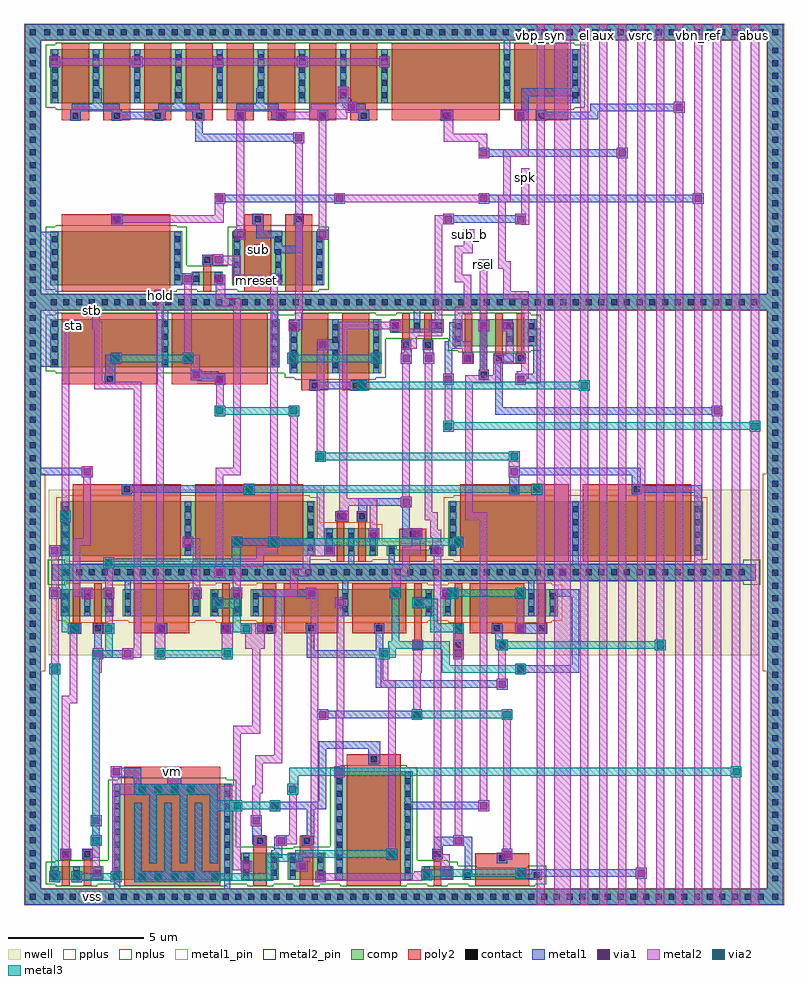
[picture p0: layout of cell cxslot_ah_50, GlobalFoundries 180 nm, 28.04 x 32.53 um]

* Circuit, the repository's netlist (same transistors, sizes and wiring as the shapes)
* LVS reference for slot_ah_50: flattened from cells/neuron/slot.spice by layout/slot/flatten.py
* Cfb (MOM capacitor, value from PEX) omitted: XD.CFB
.subckt cxslot_ah_50 vm spk rsel sub sub_b el vsrc vreset vbn_leak vbp_st vbn_ref vbn_prb en abus vdd vss aux vbp_syn sta stb hold mreset
XXC_XC vss vm vss vss nfet_03v3 W=3.54u L=3.54u
XXL_XMT XL.t vbn_leak vss vss nfet_03v3 W=2u L=4u
XXL_XM1 la el XL.s1 vss nfet_03v3 W=4u L=1u
XXL_XD1 XL.s1 XL.s1 XL.t vss nfet_03v3 W=8u L=1u
XXL_XM2 vl vl XL.s2 vss nfet_03v3 W=4u L=1u
XXL_XD2 XL.s2 XL.s2 XL.t vss nfet_03v3 W=8u L=1u
XXL_XP1 la la vdd vdd pfet_03v3 W=2u L=4u
XXL_XP2 vl la vdd vdd pfet_03v3 W=2u L=4u
XXD_XPS XD.s vbp_st vdd vdd pfet_03v3 W=1u L=2u
XXD_XPI XD.n1 vm XD.s vdd pfet_03v3 W=1u L=0.5u
XXD_XNI XD.n1 vm vsrc vss nfet_03v3 W=1u L=0.5u
XXD_XS2 XD.s2 vbp_st vdd vdd pfet_03v3 W=1u L=2u
XXD_XP2 XD.p XD.n1 XD.s2 vdd pfet_03v3 W=1u L=0.28u
XXD_XN2 XD.p XD.n1 vsrc vss nfet_03v3 W=0.22u L=2u
XXD_XS3 XD.s3 vbp_st vdd vdd pfet_03v3 W=1u L=2u
XXD_XP3 XD.pb XD.p XD.s3 vdd pfet_03v3 W=1u L=0.28u
XXD_XN3 XD.pb XD.p vsrc vss nfet_03v3 W=0.5u L=0.28u
XXD_XK XD.pb spk vdd vdd pfet_03v3 W=0.22u L=1u
XXD_Xi4_XN spk XD.pb vss vss nfet_03v3 W=0.5u L=0.28u
XXD_Xi4_XP spk XD.pb vdd vdd pfet_03v3 W=1u L=0.28u
XXR_Xi_XN XR.spkb spk vss vss nfet_03v3 W=0.5u L=0.28u
XXR_Xi_XP XR.spkb spk vdd vdd pfet_03v3 W=1u L=0.28u
XXR_XPC vr XR.spkb vdd vdd pfet_03v3 W=1u L=0.28u
XXR_XNR vr vbn_ref vss vss nfet_03v3 W=2u L=4u
XXR_XCR_XC vss vr vss vss nfet_03v3 W=3.54u L=3.54u
XXR_XSW vm vr vreset vss nfet_03v3 W=1u L=0.5u
XXPM_XMF vdd vm XPM.prb vss nfet_03v3 W=4u L=2u
XXPM_XME XPM.prb en XPM.s vss nfet_03v3 W=1u L=0.28u
XXPM_XMB XPM.s vbn_prb vss vss nfet_03v3 W=2u L=2u
XXPM_XSC XPM.prb en XPM.mc vss nfet_03v3 W=1u L=0.28u
XXPM_XSW XPM.mc rsel XPM.m vss nfet_03v3 W=1u L=0.28u
XXPM_XSB XPM.m sub_b abus vss nfet_03v3 W=1u L=0.28u
XXS_XPH XS.h hold vdd vdd pfet_03v3 W=1u L=2u
XXS_XWA XS.da vbp_syn XS.h vdd pfet_03v3 W=2u L=4u
XXS_XWB XS.db vbp_syn XS.h vdd pfet_03v3 W=2u L=4u
XXS_XNA XS.da sta vm vss nfet_03v3 W=0.5u L=0.28u
XXS_XNB XS.db stb vm vss nfet_03v3 W=0.5u L=0.28u
XXS_XQA vss sta XS.da vdd pfet_03v3 W=1u L=0.28u
XXS_XQB vss stb XS.db vdd pfet_03v3 W=1u L=0.28u
XXS_XHL vm hold vl vdd pfet_03v3 W=1u L=0.28u
XXS_XMR vdd mreset vr vss nfet_03v3 W=0.5u L=0.28u
.ends cxslot_ah_50

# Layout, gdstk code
import gdstk
lib = gdstk.Library(unit=1e-6, precision=1e-09)
def R(c, l, rs):  # rectangles x0, y0, x1, y1
    for r in rs: c.add(gdstk.rectangle(r[:2], r[2:], *l))
def A(c, l, x, y, w, h, nx, ny, dx, dy):  # array of equal rectangles
    R(c, l, [(x+i*dx, y+j*dy, x+i*dx+w, y+j*dy+h) for i in range(nx) for j in range(ny)])
nwell = (21, 0)
comp = (22, 0)
poly2 = (30, 0)
pplus = (31, 0)
nplus = (32, 0)
contact = (33, 0)
metal1 = (34, 0)
metal1_pin = (34, 10)
via1 = (35, 0)
metal2 = (36, 0)
metal2_pin = (36, 10)
via2 = (38, 0)
metal3 = (42, 0)

cxslot_ah_50 = lib.new_cell('cxslot_ah_50')
R(cxslot_ah_50, nwell, [(0.9,9.215,27.1,15.315)])
R(cxslot_ah_50, comp, [(0,0,28,0.6), (0,0.6,0.6,21.93), (27.4,0.6,28,21.93), (0.94,0.92,2.9,1.42), (3.24,0.92,7.66,4.46), (8,0.92,9.38,1.92), (9.72,0.92,11.1,1.92), (11.44,0.92,14.32,4.92), (14.66,0.92,15.82,1.42), (16.16,0.92,19.08,1.14), (16.16,1.14,16.52,1.28), (18.72,1.14,19.08,1.28), (1.33,10.645,3.29,11.645), (3.63,10.645,6.51,11.645), (6.85,10.645,8.01,11.645), (8.35,10.645,15.09,11.645), (15.43,10.645,19.67,11.645), (1.02,11.965,26.98,12.565), (1.33,12.885,10.73,14.885), (11.07,12.885,13.03,13.885), (13.37,12.885,15.29,13.105), (15.63,12.885,25.03,14.885), (13.37,13.105,13.73,13.245), (14.93,13.105,15.29,13.245), (9.76,19.61,13.16,21.61), (0.94,19.84,9.42,21.61), (15.8,20.61,18.88,21.61), (13.5,21.11,15.46,21.61), (0,21.93,28,22.53), (0,22.53,0.6,31.89), (27.4,22.53,28,31.89), (0.94,22.85,5.82,24.85), (6.16,22.85,7.32,23.35), (7.66,22.85,11.06,24.85), (0.94,29.57,20.5,31.57), (0,31.89,28,32.49)])
A(cxslot_ah_50, poly2, 1.38, 28.94, 1, 2.85, 8, 1, 1.52, 0)
R(cxslot_ah_50, poly2, [(1.38,0.7,1.66,1.69), (2.18,0.7,2.46,1.69), (3.68,0.7,7.22,5.09), (8.44,0.7,8.94,2.55), (10.16,0.7,10.66,2.55), (11.88,0.7,13.88,5.55), (15.1,0.7,15.38,1.69), (16.62,0.7,18.62,1.91), (1.34,1.69,1.7,2.05), (2.14,1.69,2.5,2.05), (15.06,1.69,15.42,2.05), (14.33,9.405,14.69,9.765), (15.83,9.405,16.19,9.765), (14.37,9.765,14.65,11.865), (15.87,9.765,16.15,11.865), (1.73,10.015,2.09,10.375), (2.53,10.015,2.89,10.375), (4.07,10.015,6.07,11.865), (7.25,10.015,7.61,10.375), (8.79,10.015,9.29,11.865), (9.57,10.015,11.57,11.865), (12.09,10.015,14.09,11.865), (16.43,10.015,18.43,11.865), (18.91,10.015,19.27,10.375), (1.77,10.375,2.05,11.865), (2.57,10.375,2.85,11.865), (7.29,10.375,7.57,11.865), (18.95,10.375,19.23,11.865), (1.77,12.665,5.77,15.515), (6.29,12.665,10.29,15.515), (11.51,12.665,11.79,14.155), (12.31,12.665,12.59,14.155), (13.83,12.665,14.83,13.875), (16.07,12.665,20.07,15.515), (20.59,12.665,24.59,15.515), (11.47,14.155,11.83,14.515), (12.27,14.155,12.63,14.515), (10.2,18.98,11.2,21.83), (11.72,18.98,12.72,21.83), (1.38,19.21,4.92,21.83), (5.44,19.21,8.98,21.83), (16.76,19.37,17.12,19.73), (16.8,19.73,17.08,21.83), (16.2,19.98,16.56,20.34), (17.32,19.98,17.68,20.34), (18.12,19.98,18.48,20.34), (16.24,20.34,16.52,21.83), (17.36,20.34,17.64,21.83), (18.16,20.34,18.44,21.83), (13.9,20.48,14.26,20.84), (14.7,20.48,15.06,20.84), (13.94,20.84,14.22,21.83), (14.74,20.84,15.02,21.83), (1.38,22.63,5.38,25.48), (6.6,22.63,6.88,23.62), (8.1,22.63,9.1,25.48), (9.62,22.63,10.62,25.48), (6.56,23.62,6.92,23.98), (13.54,28.94,17.54,31.79), (18.06,28.94,20.06,31.79)])
R(cxslot_ah_50, pplus, [(-0.02,-0.02,28.02,0.62), (-0.02,0.62,0.62,8.625), (27.38,0.62,28.02,8.625), (-0.02,8.625,0.76,15.905), (27.24,8.625,28.02,15.905), (1.54,10.415,3.08,10.485), (3.84,10.415,6.3,10.485), (7.06,10.415,7.8,10.485), (8.56,10.415,14.88,10.485), (15.64,10.415,19.46,10.485), (1.17,10.485,19.83,11.805), (1.54,11.805,3.08,11.875), (3.84,11.805,6.3,11.875), (7.06,11.805,7.8,11.875), (8.56,11.805,14.88,11.875), (15.64,11.805,19.46,11.875), (1.54,12.655,10.52,12.725), (11.28,12.655,12.82,12.725), (13.6,12.655,15.06,12.725), (15.84,12.655,24.82,12.725), (1.17,12.725,25.19,13.335), (1.17,13.335,13.89,13.405), (14.77,13.335,25.19,13.405), (1.17,13.405,13.19,14.045), (15.47,13.405,25.19,15.045), (1.17,14.045,12.82,14.115), (1.17,14.115,10.89,15.045), (1.54,15.045,10.52,15.115), (15.84,15.045,24.82,15.115), (-0.02,15.905,0.62,21.91), (27.38,15.905,28.02,21.91), (-0.02,21.91,28.02,22.55), (-0.02,22.55,0.62,31.87), (27.38,22.55,28.02,31.87), (-0.02,31.87,28.02,32.51)])
R(cxslot_ah_50, nplus, [(1.15,0.69,2.69,0.76), (3.45,0.69,7.45,0.76), (8.21,0.69,9.17,0.76), (9.93,0.69,10.89,0.76), (11.65,0.69,14.11,0.76), (14.87,0.69,15.61,0.76), (16.39,0.69,18.85,0.76), (0.78,0.76,19.24,1.37), (0.78,1.37,16.68,1.44), (18.56,1.37,19.24,1.44), (0.78,1.44,15.98,1.58), (1.15,1.58,15.61,1.65), (3.08,1.65,14.48,2.08), (3.08,2.08,9.17,2.15), (9.93,2.08,14.48,2.15), (3.08,2.15,7.82,4.62), (11.28,2.15,14.48,5.08), (3.45,4.62,7.45,4.69), (11.65,5.08,14.11,5.15), (0.86,11.805,1.49,11.945), (26.51,11.805,27.14,11.945), (0.86,11.945,27.14,12.585), (0.86,12.585,1.49,12.725), (26.51,12.585,27.14,12.725), (9.97,19.38,12.95,19.45), (9.6,19.45,13.32,19.61), (1.15,19.61,13.32,19.68), (0.78,19.68,13.32,20.88), (16.01,20.38,18.67,20.45), (15.64,20.45,19.04,20.88), (0.78,20.88,19.04,21.77), (1.15,21.77,9.21,21.84), (9.97,21.77,12.95,21.84), (13.71,21.77,15.25,21.84), (16.01,21.77,18.67,21.84), (1.15,22.62,5.61,22.69), (6.37,22.62,7.11,22.69), (7.87,22.62,10.85,22.69), (0.78,22.69,11.22,23.58), (0.78,23.58,5.98,25.01), (7.5,23.58,11.22,25.01), (1.15,25.01,5.61,25.08), (7.87,25.01,10.85,25.08), (1.15,29.34,20.29,29.41), (0.78,29.41,20.66,31.73), (1.15,31.73,20.29,31.8)])
A(cxslot_ah_50, contact, 0.73, 0.19, 0.22, 0.22, 57, 2, 0.47, 31.89)
A(cxslot_ah_50, contact, 0.19, 0.86, 0.22, 0.22, 1, 66, 0, 0.47)
A(cxslot_ah_50, contact, 27.59, 0.86, 0.22, 0.22, 1, 66, 0, 0.47)
A(cxslot_ah_50, contact, 1.01, 1.06, 0.22, 0.22, 3, 1, 0.8, 0)
A(cxslot_ah_50, contact, 11.51, 1.165, 0.22, 0.22, 1, 8, 0, 0.47)
A(cxslot_ah_50, contact, 14.03, 1.165, 0.22, 0.22, 1, 8, 0, 0.47)
A(cxslot_ah_50, contact, 3.31, 1.17, 0.22, 0.22, 1, 7, 0, 0.47)
A(cxslot_ah_50, contact, 7.37, 1.17, 0.22, 0.22, 1, 7, 0, 0.47)
A(cxslot_ah_50, contact, 2.6, 10.085, 0.22, 0.22, 3, 1, 2.36, 0)
A(cxslot_ah_50, contact, 1.4, 10.8, 0.22, 0.22, 3, 2, 0.8, 0.47)
A(cxslot_ah_50, contact, 1.435, 12.155, 0.22, 0.22, 54, 1, 0.47, 0)
A(cxslot_ah_50, contact, 11.14, 13.04, 0.22, 0.22, 3, 2, 0.8, 0.47)
A(cxslot_ah_50, contact, 1.4, 13.07, 0.22, 0.22, 3, 4, 4.52, 0.47)
A(cxslot_ah_50, contact, 15.7, 13.07, 0.22, 0.22, 3, 4, 4.52, 0.47)
A(cxslot_ah_50, contact, 9.83, 19.795, 0.22, 0.22, 3, 4, 1.52, 0.47)
A(cxslot_ah_50, contact, 1.01, 19.91, 0.22, 0.22, 3, 4, 4.06, 0.47)
A(cxslot_ah_50, contact, 13.57, 21.25, 0.22, 0.22, 3, 1, 0.8, 0)
A(cxslot_ah_50, contact, 0.965, 22.12, 0.22, 0.22, 56, 1, 0.47, 0)
A(cxslot_ah_50, contact, 1.01, 23.035, 0.22, 0.22, 1, 4, 0, 0.47)
A(cxslot_ah_50, contact, 5.53, 23.035, 0.22, 0.22, 1, 4, 0, 0.47)
A(cxslot_ah_50, contact, 7.73, 23.035, 0.22, 0.22, 3, 4, 1.52, 0.47)
A(cxslot_ah_50, contact, 1.77, 29.01, 0.22, 0.22, 8, 1, 1.52, 0)
A(cxslot_ah_50, contact, 1.01, 29.755, 0.22, 0.22, 9, 4, 1.52, 0.47)
A(cxslot_ah_50, contact, 17.69, 29.755, 0.22, 0.22, 1, 4, 0, 0.47)
A(cxslot_ah_50, contact, 20.21, 29.755, 0.22, 0.22, 1, 4, 0, 0.47)
R(cxslot_ah_50, contact, [(0.19,0.19,0.41,0.41), (27.59,0.19,27.81,0.41), (16.23,0.99,16.45,1.21), (18.79,0.99,19.01,1.21), (14.73,1.06,14.95,1.28), (15.53,1.06,15.75,1.28), (8.07,1.075,8.29,1.295), (9.09,1.075,9.31,1.295), (9.79,1.075,10.01,1.295), (10.81,1.075,11.03,1.295), (8.07,1.545,8.29,1.765), (9.09,1.545,9.31,1.765), (9.79,1.545,10.01,1.765), (10.81,1.545,11.03,1.765), (17.51,1.62,17.73,1.84), (1.41,1.76,1.63,1.98), (2.21,1.76,2.43,1.98), (15.13,1.76,15.35,1.98), (8.58,2.26,8.8,2.48), (10.3,2.26,10.52,2.48), (5.34,4.8,5.56,5.02), (12.77,5.26,12.99,5.48), (14.4,9.475,14.62,9.695), (15.9,9.475,16.12,9.695), (1.8,10.085,2.02,10.305), (8.93,10.085,9.15,10.305), (10.46,10.085,10.68,10.305), (12.98,10.085,13.2,10.305), (17.32,10.085,17.54,10.305), (18.98,10.085,19.2,10.305), (3.7,10.8,3.92,11.02), (6.22,10.8,6.44,11.02), (6.92,10.8,7.14,11.02), (7.72,10.8,7.94,11.02), (8.42,10.8,8.64,11.02), (11.72,10.8,11.94,11.02), (14.8,10.8,15.02,11.02), (15.5,10.8,15.72,11.02), (18.58,10.8,18.8,11.02), (19.38,10.8,19.6,11.02), (3.7,11.27,3.92,11.49), (6.22,11.27,6.44,11.49), (6.92,11.27,7.14,11.49), (7.72,11.27,7.94,11.49), (8.42,11.27,8.64,11.49), (11.72,11.27,11.94,11.49), (14.8,11.27,15.02,11.49), (15.5,11.27,15.72,11.49), (18.58,11.27,18.8,11.49), (19.38,11.27,19.6,11.49), (13.44,12.955,13.66,13.175), (15,12.955,15.22,13.175), (14.22,13.585,14.44,13.805), (11.54,14.225,11.76,14.445), (12.34,14.225,12.56,14.445), (3.66,15.225,3.88,15.445), (8.18,15.225,8.4,15.445), (17.96,15.225,18.18,15.445), (22.48,15.225,22.7,15.445), (10.59,19.05,10.81,19.27), (12.11,19.05,12.33,19.27), (3.04,19.28,3.26,19.5), (7.1,19.28,7.32,19.5), (16.83,19.44,17.05,19.66), (16.27,20.05,16.49,20.27), (17.39,20.05,17.61,20.27), (18.19,20.05,18.41,20.27), (13.97,20.55,14.19,20.77), (14.77,20.55,14.99,20.77), (15.87,20.765,16.09,20.985), (17.79,20.765,18.01,20.985), (18.59,20.765,18.81,20.985), (15.87,21.235,16.09,21.455), (17.79,21.235,18.01,21.455), (18.59,21.235,18.81,21.455), (6.23,22.99,6.45,23.21), (7.03,22.99,7.25,23.21), (6.63,23.69,6.85,23.91), (3.27,25.19,3.49,25.41), (8.49,25.19,8.71,25.41), (10.01,25.19,10.23,25.41), (15.43,29.01,15.65,29.23), (18.95,29.01,19.17,29.23), (0.19,32.08,0.41,32.3), (27.59,32.08,27.81,32.3)])
A(cxslot_ah_50, metal1, 4.04, 1.23, 0.28, 2.53, 3, 1, 1.12, 0)
A(cxslot_ah_50, metal1, 4.6, 1.53, 0.28, 2.53, 3, 1, 1.12, 0)
A(cxslot_ah_50, metal1, 1.395, 10.655, 0.23, 0.645, 3, 1, 0.8, 0)
A(cxslot_ah_50, metal1, 3.21, 28.93, 0.38, 0.05, 3, 1, 1.52, 0)
A(cxslot_ah_50, metal1, 1.005, 29.58, 0.23, 1.32, 5, 1, 3.04, 0)
A(cxslot_ah_50, metal1, 2.525, 30.12, 0.23, 1.44, 3, 1, 3.04, 0)
A(cxslot_ah_50, metal1, 1.005, 31.3, 0.23, 0.26, 5, 1, 3.04, 0)
R(cxslot_ah_50, metal1, [(0,0,28,0.6), (0,0.6,0.6,15.84), (3.305,0.6,3.535,4.45), (7.365,0.6,7.595,4.45), (27.4,0.6,28,21.93), (0.92,0.83,1.32,1.23), (1.72,0.83,2.12,1.23), (4.04,0.83,7.12,1.23), (10.72,0.83,11.12,1.23), (14.64,0.9,15.04,1.3), (2.605,0.93,2.835,0.97), (8.065,0.93,8.295,1.22), (9.085,0.93,9.315,1.73), (9.785,0.93,10.015,1.22), (11.505,0.93,11.735,4.71), (14.025,0.93,14.255,3.52), (15.525,0.93,15.755,0.97), (16.225,0.93,16.455,1.03), (18.785,0.93,19.015,0.97), (2.44,0.97,2.84,1.37), (15.34,0.97,15.755,1.37), (18.1,0.97,19.015,1.03), (22.55,0.97,22.95,1.03), (16.225,1.03,16.52,1.27), (18.1,1.03,22.95,1.31), (7.98,1.22,8.38,1.62), (9.785,1.22,10.44,1.62), (1.005,1.23,1.235,1.41), (1.805,1.23,2.035,1.41), (10.805,1.23,11.035,1.91), (16.24,1.27,16.52,2.17), (14.725,1.3,14.955,1.41), (18.1,1.31,18.5,1.37), (22.55,1.31,22.95,1.37), (2.605,1.37,2.835,1.41), (15.525,1.37,15.755,1.41), (17.43,1.54,17.81,1.67), (8.065,1.62,8.295,1.91), (9.785,1.62,10.015,1.91), (1.32,1.67,1.72,2.07), (17.43,1.67,18,1.92), (2.13,1.68,2.51,1.73), (15.05,1.68,15.43,2.06), (2.13,1.73,2.78,2.06), (9.085,1.73,9.5,1.91), (9.1,1.91,9.5,2.01), (17.6,1.92,18,2.07), (9.22,2.01,9.5,2.17), (2.5,2.06,2.78,2.9), (15.1,2.06,15.43,2.17), (9.22,2.17,9.68,2.51), (15.1,2.17,16.52,2.51), (8.5,2.18,8.88,2.23), (10.22,2.18,10.6,2.23), (8.41,2.23,8.88,2.56), (10.22,2.23,10.69,2.56), (9.28,2.51,9.68,2.57), (15.81,2.51,16.21,2.57), (8.41,2.56,8.75,2.9), (10.41,2.56,10.69,3.52), (2.44,2.9,2.84,3.3), (8.35,2.9,8.75,3.3), (9.04,3.46,9.44,3.52), (16.74,3.46,17.14,3.52), (9.04,3.52,11.14,3.8), (14,3.52,17.14,3.8), (9.04,3.8,9.44,3.86), (10.86,3.8,11.14,5.76), (14.025,3.8,14.255,4.91), (16.74,3.8,17.14,3.86), (4.04,4.06,7.12,4.12), (4.02,4.12,7.12,4.46), (4.02,4.46,4.3,4.71), (5.26,4.46,5.78,5.05), (3.18,4.71,4.3,5.05), (11.42,4.71,11.82,5.11), (3.18,5.05,3.58,5.11), (5.26,5.05,5.64,5.1), (12.69,5.18,13.07,5.23), (12.69,5.23,13.12,5.76), (10.86,5.76,13.12,6.04), (10.8,6.82,11.2,6.88), (14.28,6.82,14.68,6.88), (10.8,6.88,14.68,7.16), (10.8,7.16,11.2,7.22), (14.28,7.16,14.68,7.22), (17.42,7.94,17.82,8), (12.95,8,17.82,8.28), (12.95,8.28,13.23,9.12), (17.42,8.28,17.82,8.34), (18.1,8.5,18.5,8.56), (18.1,8.56,20.46,8.84), (18.1,8.84,18.5,8.9), (20.18,8.84,20.46,11.36), (2.51,9.06,2.91,9.12), (3.61,9.06,4.01,9.12), (15.81,9.06,16.21,9.46), (2.51,9.12,4.01,9.4), (10.41,9.12,13.23,9.4), (14.31,9.385,14.71,9.785), (17.42,9.385,17.82,9.445), (2.51,9.4,2.91,9.46), (3.61,9.4,4.01,9.46), (10.41,9.4,10.69,10.005), (12.95,9.4,13.23,10.005), (17.36,9.445,17.82,9.785), (2.57,9.46,2.85,10.005), (15.82,9.46,16.2,9.775), (17.36,9.785,17.64,10.005), (1.6,9.995,2,10.005), (4.8,9.995,5.2,10.005), (7.28,9.995,7.68,10.005), (8.52,9.995,8.92,10.005), (18.1,9.995,18.5,10.005), (1.6,10.005,2.1,10.385), (2.52,10.005,2.9,10.385), (4.8,10.005,5.26,10.385), (7.24,10.005,7.68,10.385), (8.52,10.005,9.23,10.385), (10.38,10.005,10.76,10.385), (12.9,10.005,13.28,10.385), (17.24,10.005,17.64,10.335), (18.1,10.005,19.28,10.385), (17.24,10.335,17.62,10.385), (1.6,10.385,2,10.395), (4.8,10.385,5.2,10.395), (7.28,10.385,7.68,10.395), (8.52,10.385,8.92,10.395), (18.1,10.385,18.5,10.395), (3.695,10.655,3.925,11.965), (6.215,10.655,6.445,11.3), (6.915,10.655,7.145,10.945), (7.715,10.655,7.945,11.3), (8.415,10.655,8.645,11.36), (11.715,10.655,11.945,10.945), (14.795,10.655,15.025,10.945), (15.495,10.655,15.725,11.3), (18.575,10.655,18.805,11.965), (19.375,10.655,19.605,11.36), (6.915,10.945,7.34,11.345), (11.45,10.945,11.945,11.345), (14.31,10.945,15.025,11.345), (0.92,11.3,1.625,11.36), (2.11,11.3,2.51,11.7), (2.91,11.3,3.31,11.7), (6.14,11.3,6.54,11.7), (7.63,11.3,8.03,11.7), (10.37,11.3,10.77,11.36), (15.34,11.3,15.74,11.7), (6.915,11.345,7.145,11.635), (11.715,11.345,11.945,11.965), (14.795,11.345,15.025,11.635), (0.92,11.36,1.65,11.64), (8.415,11.36,10.77,11.635), (19.35,11.36,20.46,11.64), (8.46,11.635,10.77,11.64), (0.92,11.64,1.32,11.7), (10.37,11.64,10.77,11.7), (1.02,11.965,26.98,12.565), (11.935,12.565,12.165,13.875), (13.435,12.565,13.665,13.235), (20.215,12.565,20.445,14.875), (0.92,12.865,1.32,12.895), (11.05,12.865,11.45,13.265), (15.04,12.865,15.44,12.895), (0.92,12.895,1.625,12.925), (5.915,12.895,6.145,13.185), (10.435,12.895,10.665,13.245), (12.735,12.895,12.965,13.495), (14.995,12.895,15.44,12.925), (15.695,12.895,15.925,13.185), (24.735,12.895,24.965,14.72), (0.92,12.925,1.65,13.205), (14.97,12.925,15.44,13.205), (5.83,13.185,6.23,13.585), (7.64,13.185,8.04,13.245), (15.695,13.185,16.18,13.245), (0.92,13.205,1.625,13.265), (14.995,13.205,15.44,13.235), (15.04,13.235,15.44,13.265), (7.64,13.245,10.69,13.525), (15.67,13.245,16.18,13.525), (1.395,13.265,1.625,14.875), (11.135,13.265,11.365,13.875), (12.68,13.495,13.08,13.895), (14.28,13.495,14.68,13.505), (14.14,13.505,14.68,13.555), (7.64,13.525,8.04,13.585), (10.435,13.525,10.665,14.875), (15.695,13.525,16.18,13.585), (13.94,13.555,14.68,13.895), (5.915,13.585,6.145,14.875), (15.695,13.585,15.925,14.875), (13.94,13.895,14.22,14.66), (11.56,14.135,11.96,14.145), (11.46,14.145,11.96,14.525), (12.26,14.145,12.64,14.525), (11.56,14.525,11.96,14.535), (12.31,14.525,12.64,14.72), (13.88,14.66,14.28,14.72), (12.31,14.72,14.28,15), (24.71,14.72,24.99,15.195), (13.88,15,14.28,15.06), (8.09,15.135,8.49,15.195), (3.58,15.145,3.96,15.195), (17.88,15.145,18.26,15.78), (22.4,15.145,22.78,15.195), (3.58,15.195,8.49,15.475), (22.4,15.195,24.99,15.475), (3.58,15.475,3.96,15.525), (8.09,15.475,8.49,15.535), (22.4,15.475,22.78,15.525), (22.4,15.525,22.73,15.84), (2.11,15.78,2.51,15.84), (17.87,15.78,18.27,15.84), (0,15.84,2.51,16.12), (17.87,15.84,22.73,16.12), (0,16.12,0.6,19.85), (2.11,16.12,2.51,16.18), (17.87,16.12,18.27,16.18), (25.35,18.02,25.75,18.08), (17.36,18.08,25.75,18.36), (17.36,18.36,17.64,19.97), (25.35,18.36,25.75,18.42), (12.25,18.96,12.65,18.97), (10.51,18.97,10.89,19.02), (12.03,18.97,12.65,19.02), (10.51,19.02,12.65,19.3), (7.01,19.19,7.41,19.41), (15.44,19.19,15.84,19.59), (18.1,19.19,18.5,19.25), (2.96,19.2,3.34,19.58), (18.1,19.25,19.04,19.59), (10.51,19.3,10.89,19.35), (12.03,19.3,12.65,19.35), (6.13,19.35,6.53,19.41), (12.25,19.35,12.65,19.36), (16.75,19.36,17.13,19.74), (6.13,19.41,7.41,19.59), (2.97,19.58,3.34,19.96), (6.13,19.59,7.17,19.69), (15.5,19.59,15.78,20.52), (18.76,19.59,19.04,20.62), (9.825,19.62,10.055,19.96), (11.345,19.62,11.575,20.46), (12.865,19.62,13.095,19.96), (6.13,19.69,6.53,19.75), (16.8,19.74,17.08,21.17), (0,19.85,1.235,21.93), (5.065,19.85,5.295,21.93), (9.125,19.85,9.355,21.93), (2.97,19.96,3.58,20.3), (9.7,19.96,10.1,20.36), (12.78,19.96,13.18,20.36), (13.88,19.96,14.28,20.36), (14.71,19.96,15.11,20.36), (16.14,19.96,16.54,19.97), (16.14,19.97,16.57,20.35), (17.31,19.97,18.49,20.35), (3.18,20.3,3.58,20.36), (16.14,20.35,16.54,20.36), (9.825,20.36,10.055,21.16), (12.865,20.36,13.095,21.6), (13.89,20.36,14.27,20.85), (14.71,20.36,15.07,20.47), (10.8,20.46,11.575,20.52), (14.69,20.47,15.07,20.85), (10.8,20.52,11.6,20.8), (15.5,20.52,15.95,20.62), (15.5,20.62,16.095,20.8), (17.785,20.62,18.015,21.16), (18.585,20.62,19.04,20.97), (10.8,20.8,11.575,20.86), (15.67,20.8,16.095,21.22), (11.345,20.86,11.575,21.6), (18.56,20.97,19.04,21.25), (13.565,21.12,13.795,21.17), (14.365,21.12,14.595,21.93), (15.165,21.12,15.395,21.16), (9.74,21.16,10.14,21.56), (14.91,21.16,15.395,21.56), (17.6,21.16,18.015,21.56), (13.48,21.17,13.88,21.57), (16.74,21.17,17.14,21.57), (15.67,21.22,16.12,21.5), (18.585,21.25,18.815,21.6), (15.865,21.5,16.095,21.6), (9.825,21.56,10.055,21.6), (15.165,21.56,15.395,21.6), (17.785,21.56,18.015,21.6), (13.565,21.57,13.795,21.6), (0,21.93,28,22.53), (0,22.53,1.235,24.84), (27.4,22.53,28,31.89), (7,22.85,7.4,23.25), (5.525,22.86,5.755,22.9), (6.225,22.86,6.455,22.9), (7.725,22.86,7.955,24.53), (9.245,22.86,9.475,22.9), (10.765,22.86,10.995,24.53), (5.525,22.9,6.455,22.96), (9.04,22.9,9.475,22.96), (5.525,22.96,6.47,23.24), (9.04,22.96,9.5,23.24), (5.525,23.24,6.455,23.3), (9.04,23.24,9.475,23.3), (7.025,23.25,7.255,23.34), (5.525,23.3,5.755,24.84), (6.225,23.3,6.455,23.34), (9.245,23.3,9.475,24.03), (6.94,23.6,7.34,23.61), (6.55,23.61,7.34,23.99), (6.94,23.99,7.34,24), (9.22,24.03,10.26,24.31), (9.22,24.31,9.5,24.59), (9.98,24.31,10.26,25.11), (7.725,24.53,8.16,24.59), (10.765,24.53,11.2,24.84), (7.7,24.59,8.16,24.87), (8.55,24.59,9.5,24.87), (0,24.84,0.6,31.89), (10.78,24.84,11.2,24.87), (7.76,24.87,8.16,24.93), (8.55,24.87,8.83,25.11), (10.8,24.87,11.2,24.93), (3.22,25.1,3.62,25.11), (15.44,25.1,15.84,25.16), (18.1,25.1,18.5,25.16), (3.19,25.11,3.62,25.49), (8.41,25.11,8.83,25.44), (9.93,25.11,10.31,25.49), (15.44,25.16,18.5,25.44), (8.41,25.44,8.79,25.49), (15.44,25.44,15.84,25.5), (18.1,25.44,18.5,25.5), (3.22,25.49,3.62,25.5), (7.01,25.86,7.41,25.92), (11.42,25.86,11.82,25.92), (16.75,25.86,17.15,25.92), (24.65,25.86,25.05,25.92), (7.01,25.92,11.82,26.2), (16.75,25.92,25.05,26.2), (7.01,26.2,7.41,26.26), (11.42,26.2,11.82,26.26), (16.75,26.2,17.15,26.26), (24.65,26.2,25.05,26.26), (16.75,27.54,17.15,27.6), (21.85,27.54,22.25,27.6), (16.75,27.6,22.25,27.88), (16.75,27.88,17.15,27.94), (21.85,27.88,22.25,27.94), (9.92,28.1,10.32,28.16), (6.3,28.16,10.32,28.44), (6.3,28.44,6.58,28.93), (9.92,28.44,10.32,28.5), (7.76,28.92,8.16,29.28), (9.28,28.92,9.68,28.98), (10.8,28.92,11.2,29.32), (15.41,28.92,15.81,28.93), (18.1,28.92,18.5,28.98), (1.69,28.93,2.07,29.28), (12.33,28.93,12.71,28.98), (15.35,28.93,15.81,29.31), (18.87,28.93,19.25,28.98), (3.21,28.98,5.21,29.26), (6.19,28.98,6.63,29.28), (9.1,28.98,9.68,29.28), (12.31,28.98,12.71,29.22), (18.1,28.98,18.61,29.32), (18.87,28.98,21.16,29.26), (11.85,29.22,12.71,29.31), (23.95,29.22,24.35,29.28), (3.21,29.26,3.59,29.28), (4.73,29.26,5.21,29.28), (18.87,29.26,19.25,29.31), (20.88,29.26,21.16,29.28), (1.69,29.28,3.59,29.31), (4.73,29.28,6.63,29.31), (7.76,29.28,9.68,29.32), (20.88,29.28,24.35,29.56), (1.74,29.31,3.52,29.56), (4.93,29.31,6.47,29.56), (11.85,29.31,12.59,29.415), (15.41,29.31,15.81,29.32), (7.82,29.32,9.38,29.56), (18.33,29.32,18.61,29.84), (11.785,29.415,12.59,29.48), (11.73,29.48,12.59,29.56), (2.525,29.56,2.85,30.12), (5.54,29.56,5.82,30.12), (8.55,29.56,8.835,30.12), (11.73,29.56,12.25,29.58), (23.95,29.56,24.35,29.62), (11.56,29.58,12.25,29.62), (17.685,29.58,17.915,31.89), (20.205,29.58,20.435,29.84), (11.56,29.62,12.08,29.72), (11.56,29.72,12.025,29.785), (11.56,29.785,11.96,30.18), (18.33,29.84,20.46,30.12), (20.205,30.12,20.435,31.56), (11.645,30.18,11.875,31.56), (0.92,30.9,1.32,31.3), (3.96,30.9,4.36,31.3), (6.94,30.9,7.34,31.3), (10.04,30.9,10.44,31.3), (13.08,30.9,13.48,31.3), (0,31.89,28,32.49)])
R(cxslot_ah_50, metal1_pin, [(2,0.1,3,0.5), (5.26,4.72,5.64,5.1)])
A(cxslot_ah_50, via1, 4.21, 0.9, 0.26, 0.26, 4, 2, 0.6, 3.23)
A(cxslot_ah_50, via1, 7.83, 28.99, 0.26, 0.26, 3, 1, 1.52, 0)
R(cxslot_ah_50, via1, [(0.99,0.9,1.25,1.16), (1.79,0.9,2.05,1.16), (10.79,0.9,11.05,1.16), (14.71,0.97,14.97,1.23), (2.51,1.04,2.77,1.3), (15.41,1.04,15.67,1.3), (18.17,1.04,18.43,1.3), (22.62,1.04,22.88,1.3), (8.05,1.29,8.31,1.55), (10.11,1.29,10.37,1.55), (1.39,1.74,1.65,2), (17.67,1.74,17.93,2), (9.35,2.24,9.61,2.5), (15.88,2.24,16.14,2.5), (2.51,2.97,2.77,3.23), (8.42,2.97,8.68,3.23), (9.11,3.53,9.37,3.79), (16.81,3.53,17.07,3.79), (3.25,4.78,3.51,5.04), (11.49,4.78,11.75,5.04), (10.87,6.89,11.13,7.15), (14.35,6.89,14.61,7.15), (17.49,8.01,17.75,8.27), (18.17,8.57,18.43,8.83), (2.58,9.13,2.84,9.39), (3.68,9.13,3.94,9.39), (15.88,9.13,16.14,9.39), (14.38,9.455,14.64,9.715), (17.49,9.455,17.75,9.715), (1.67,10.065,1.93,10.325), (4.87,10.065,5.13,10.325), (7.35,10.065,7.61,10.325), (8.59,10.065,8.85,10.325), (18.17,10.065,18.43,10.325), (7.01,11.015,7.27,11.275), (11.52,11.015,11.78,11.275), (14.38,11.015,14.64,11.275), (0.99,11.37,1.25,11.63), (2.18,11.37,2.44,11.63), (2.98,11.37,3.24,11.63), (6.21,11.37,6.47,11.63), (7.7,11.37,7.96,11.63), (10.44,11.37,10.7,11.63), (15.41,11.37,15.67,11.63), (7.07,12.135,7.33,12.395), (19.72,12.135,19.98,12.395), (0.99,12.935,1.25,13.195), (11.12,12.935,11.38,13.195), (15.11,12.935,15.37,13.195), (5.9,13.255,6.16,13.515), (7.71,13.255,7.97,13.515), (15.85,13.255,16.11,13.515), (12.75,13.565,13.01,13.825), (14.35,13.565,14.61,13.825), (11.63,14.205,11.89,14.465), (13.95,14.73,14.21,14.99), (8.16,15.205,8.42,15.465), (2.18,15.85,2.44,16.11), (17.94,15.85,18.2,16.11), (25.42,18.09,25.68,18.35), (12.32,19.03,12.58,19.29), (7.08,19.26,7.34,19.52), (15.51,19.26,15.77,19.52), (18.17,19.26,18.43,19.52), (6.2,19.42,6.46,19.68), (3.25,20.03,3.51,20.29), (9.77,20.03,10.03,20.29), (12.85,20.03,13.11,20.29), (13.95,20.03,14.21,20.29), (14.78,20.03,15.04,20.29), (16.21,20.03,16.47,20.29), (10.87,20.53,11.13,20.79), (9.81,21.23,10.07,21.49), (14.98,21.23,15.24,21.49), (17.67,21.23,17.93,21.49), (13.55,21.24,13.81,21.5), (16.81,21.24,17.07,21.5), (7.07,22.92,7.33,23.18), (5.9,22.97,6.16,23.23), (9.11,22.97,9.37,23.23), (7.01,23.67,7.27,23.93), (7.83,24.6,8.09,24.86), (10.87,24.6,11.13,24.86), (3.29,25.17,3.55,25.43), (15.51,25.17,15.77,25.43), (18.17,25.17,18.43,25.43), (7.08,25.93,7.34,26.19), (11.49,25.93,11.75,26.19), (16.82,25.93,17.08,26.19), (24.72,25.93,24.98,26.19), (16.82,27.61,17.08,27.87), (21.92,27.61,22.18,27.87), (9.99,28.17,10.25,28.43), (15.48,28.99,15.74,29.25), (18.17,28.99,18.43,29.25), (11.92,29.29,12.18,29.55), (24.02,29.29,24.28,29.55), (11.63,29.85,11.89,30.11), (0.99,30.97,1.25,31.23), (4.03,30.97,4.29,31.23), (7.01,30.97,7.27,31.23), (10.11,30.97,10.37,31.23), (13.15,30.97,13.41,31.23)])
A(cxslot_ah_50, metal2, 4.04, 1.23, 0.28, 2.53, 3, 1, 1.12, 0)
R(cxslot_ah_50, metal2, [(18.9,0,19.2,15.135), (19.55,0,20.15,32.49), (20.5,0,20.8,18.96), (21.2,0,21.5,32.49), (21.9,0,22.2,27.54), (22.6,0,22.9,0.97), (23.3,0,23.6,9.385), (24,0,24.3,29.22), (24.7,0,25,25.86), (25.4,0,25.7,18.02), (26.1,0,26.4,4.71), (26.8,0,27.1,17.46), (0.92,0.83,1.32,1.23), (1.72,0.83,2.12,1.23), (3.18,0.83,3.58,1.23), (4.04,0.83,7.23,1.23), (10.72,0.83,11.12,0.89), (10.72,0.89,14.65,0.9), (10.72,0.9,15.04,1.17), (2.44,0.97,2.84,1.37), (15.34,0.97,15.74,1.37), (18.1,0.97,18.5,1.37), (22.55,0.97,22.95,1.37), (10.72,1.17,11.12,1.23), (14.37,1.17,15.04,1.24), (7.98,1.22,8.38,1.28), (10.04,1.22,10.44,1.59), (3.24,1.23,3.52,4.06), (14.64,1.24,15.04,1.3), (7.69,1.28,8.38,1.62), (2.5,1.37,2.78,2.17), (15.34,1.37,15.68,1.59), (22.6,1.37,22.9,32.49), (4.6,1.53,4.88,4.06), (5.72,1.53,6,4.06), (6.84,1.53,7.12,3.46), (10.04,1.59,10.55,1.62), (15.14,1.59,15.68,1.73), (7.69,1.62,7.97,3.46), (10.1,1.62,10.55,1.73), (1.32,1.67,1.72,2.07), (13.35,1.67,13.75,2.07), (17.6,1.67,18,2.07), (10.1,1.73,10.84,1.87), (15.1,1.73,15.68,1.87), (10.27,1.87,10.84,2.01), (15.1,1.87,15.42,2.01), (10.56,2.01,10.84,6.82), (15.1,2.01,15.38,11.3), (1.38,2.07,1.66,7.44), (13.41,2.07,13.69,8), (17.66,2.07,17.94,6.82), (2.44,2.17,2.84,2.57), (9.28,2.17,9.68,2.23), (15.81,2.17,16.21,2.57), (9.28,2.23,10.04,2.57), (9.76,2.57,10.04,4.06), (15.87,2.57,16.15,9.06), (2.44,2.9,2.84,3.3), (8.35,2.9,8.75,3.3), (2.5,3.3,2.78,8.56), (8.41,3.3,8.69,4.12), (6.84,3.46,8.04,3.86), (9.04,3.46,9.44,3.86), (16.74,3.46,17.14,3.86), (6.84,3.86,7.98,4.06), (16.8,3.86,17.08,14.195), (3.24,4.06,7.98,4.4), (9.7,4.06,10.1,4.46), (8.41,4.12,8.79,4.4), (3.24,4.4,7.12,4.46), (7.7,4.4,7.98,6.32), (8.51,4.4,8.79,5.23), (3.24,4.46,3.58,4.71), (3.18,4.71,3.58,5.11), (11.42,4.71,11.82,5.11), (26.05,4.71,26.45,5.11), (11.48,5.11,11.76,6.88), (26.1,5.11,26.4,32.49), (8.51,5.23,9.5,5.51), (9.22,5.51,9.5,11.36), (7.7,6.32,8.69,6.6), (8.41,6.6,8.69,9.445), (10.56,6.82,11.2,7.22), (14.28,6.82,14.68,7.22), (17.6,6.82,18,7.22), (11.48,6.88,11.79,7.16), (11.51,7.16,11.79,10.945), (10.56,7.22,10.84,11.3), (14.34,7.22,14.62,8.56), (1.38,7.44,1.94,7.72), (1.66,7.72,1.94,9.995), (17.42,7.94,17.82,8.34), (13.14,8,13.69,8.28), (13.14,8.28,13.42,9.06), (17.48,8.34,17.76,9.385), (0.92,8.5,1.32,8.9), (18.1,8.5,18.5,8.9), (2.5,8.56,2.85,8.84), (14.34,8.56,14.65,9.385), (2.51,8.84,2.85,9.06), (0.98,8.9,1.26,11.3), (2.51,9.06,2.91,9.46), (3.61,9.06,4.01,9.12), (4.8,9.06,5.2,10.395), (7.28,9.06,7.68,10.395), (13.08,9.06,13.48,9.46), (15.81,9.06,16.21,10.395), (3.61,9.12,4.3,9.46), (14.31,9.385,14.71,9.785), (17.42,9.385,17.82,9.785), (23.25,9.385,23.65,9.785), (8.15,9.445,8.86,9.995), (4.02,9.46,4.3,19.02), (23.3,9.785,23.6,32.49), (1.6,9.995,2,10.395), (2.91,9.995,3.31,10.395), (7.98,9.995,8.92,10.395), (18.1,9.995,18.5,10.395), (2.97,10.395,3.25,11.3), (4.86,10.395,5.14,22.29), (18.16,10.395,18.44,11.3), (6.94,10.945,7.34,11.345), (11.45,10.945,11.85,11.345), (14.31,10.945,14.71,11.345), (0.92,11.3,1.32,11.7), (2.11,11.3,2.51,11.36), (2.91,11.3,3.31,11.7), (6.14,11.3,6.54,11.7), (7.63,11.3,8.03,11.7), (10.37,11.3,10.84,11.64), (13.48,11.3,13.88,11.7), (15.1,11.3,16.01,11.7), (18.1,11.3,18.5,11.7), (1.78,11.36,2.51,11.7), (9.22,11.36,10.08,11.64), (9.8,11.64,10.08,12.125), (10.37,11.64,10.77,11.7), (0.98,11.7,1.26,12.865), (1.78,11.7,2.06,13.245), (2.97,11.7,3.25,12.42), (6.2,11.7,6.48,13.185), (7.69,11.7,7.97,12.48), (13.54,11.7,13.88,12.125), (15.1,11.7,15.38,12.865), (7,12.065,7.4,12.465), (9.8,12.125,10.55,12.405), (13.54,12.125,14.22,12.405), (10.27,12.405,10.55,12.865), (13.94,12.405,14.22,12.925), (2.91,12.42,3.31,12.82), (7.06,12.465,7.34,15.84), (7.69,12.48,8.83,12.76), (8.55,12.76,8.83,12.925), (0.92,12.865,1.32,13.265), (10.27,12.865,11.45,13.265), (15.04,12.865,15.44,13.265), (8.55,12.925,9.34,13.185), (13.94,12.925,14.62,13.205), (5.83,13.185,6.48,13.525), (7.64,13.185,8.04,13.585), (8.55,13.185,9.4,13.205), (15.78,13.185,16.18,13.585), (9,13.205,9.4,13.585), (14.28,13.205,14.62,13.495), (1.78,13.245,2.45,13.525), (10.27,13.265,11.14,13.525), (15.04,13.265,15.38,13.555), (12.68,13.495,13.08,13.895), (14.28,13.495,14.68,13.895), (2.17,13.525,2.45,15.78), (5.83,13.525,6.23,13.585), (10.78,13.525,11.06,15.195), (14.97,13.555,15.38,13.835), (9.06,13.585,9.34,22.9), (14.97,13.835,15.25,14.195), (12.74,13.895,13.02,14.72), (1.31,14.135,1.71,14.535), (11.56,14.135,11.96,14.535), (14.77,14.195,15.25,14.475), (16.26,14.195,17.08,14.475), (14.77,14.475,15.05,19.96), (16.26,14.475,16.54,19.25), (1.37,14.535,1.65,21.17), (11.62,14.535,11.96,14.72), (13.88,14.66,14.28,15.06), (11.62,14.72,13.02,15), (11.62,15,11.9,21.23), (13.94,15.06,14.22,19.96), (8.09,15.135,8.49,15.535), (18.7,15.135,19.2,15.535), (9.8,15.195,11.06,15.475), (9.8,15.475,10.08,18.02), (18.9,15.535,19.2,32.49), (2.11,15.78,2.51,16.18), (17.87,15.78,18.27,16.74), (7.06,15.84,7.98,16.12), (7.7,16.12,7.98,22.09), (10.72,16.34,11.12,16.74), (10.78,16.74,11.06,20.46), (15.44,17.46,15.84,17.86), (26.75,17.46,27.15,17.86), (15.5,17.86,15.78,19.19), (26.8,17.86,27.1,32.49), (7.01,18.02,7.41,18.42), (9.74,18.02,10.14,18.42), (25.35,18.02,25.75,18.42), (7.07,18.42,7.35,19.19), (25.4,18.42,25.7,32.49), (12.25,18.96,12.65,19.36), (20.45,18.96,20.85,19.36), (2.58,19.02,4.3,19.3), (7.01,19.19,7.41,19.325), (15.44,19.19,15.84,19.59), (18.1,19.19,18.5,19.41), (16.26,19.25,17.57,19.53), (2.58,19.3,2.86,21.23), (6.38,19.325,7.41,19.35), (6.13,19.35,7.41,19.59), (20.5,19.36,20.8,32.49), (18.1,19.41,18.61,19.59), (17.29,19.53,17.57,20.02), (6.13,19.59,7.16,19.615), (18.16,19.59,18.61,19.69), (6.13,19.615,6.53,19.75), (18.33,19.69,18.61,22.35), (6.13,19.75,6.47,19.96), (3.18,19.96,3.58,20.36), (5.83,19.96,6.47,20.3), (9.7,19.96,10.1,20.36), (12.78,19.96,13.18,20.36), (13.88,19.96,14.28,20.36), (14.71,19.96,15.11,20.36), (16.14,19.96,16.54,20.36), (17.29,20.02,18.04,20.3), (5.83,20.3,6.23,20.36), (17.76,20.3,18.04,21.16), (5.89,20.36,6.17,22.9), (14,20.36,14.28,20.52), (16.14,20.36,16.48,20.52), (10.78,20.46,11.2,20.8), (14,20.52,14.47,20.8), (15.87,20.52,16.48,20.8), (10.8,20.8,11.2,20.86), (14.19,20.8,14.47,20.97), (15.87,20.8,16.15,21.79), (14.19,20.97,15.42,21.25), (9.74,21.16,10.14,21.22), (17.6,21.16,18.04,21.5), (1.37,21.17,2,21.51), (13.48,21.17,13.88,21.23), (16.74,21.17,17.14,21.57), (9.74,21.22,10.26,21.56), (2.5,21.23,2.86,21.51), (11.62,21.23,13.88,21.51), (14.91,21.25,15.42,21.56), (17.6,21.5,18,21.56), (1.6,21.51,2,21.57), (2.5,21.51,2.78,21.73), (13.48,21.51,13.88,21.57), (9.98,21.56,10.26,28.1), (15.14,21.56,15.42,25.1), (16.8,21.57,17.08,23.41), (2.3,21.73,2.78,22.07), (15.87,21.79,16.48,22.07), (2.3,22.07,2.7,22.13), (16.2,22.07,16.48,22.96), (7.06,22.09,7.98,22.37), (4.8,22.29,5.2,22.69), (17.66,22.35,18.61,22.63), (7.06,22.37,7.4,22.85), (17.66,22.63,17.94,23.47), (7,22.85,7.4,23.25), (8.35,22.85,8.75,22.91), (5.83,22.9,6.23,23.3), (9.04,22.9,9.44,23.3), (7.7,22.91,8.75,22.96), (7.69,22.96,8.75,23.25), (15.87,22.96,16.48,23.24), (15.87,23.24,16.15,24.03), (7.69,23.25,7.97,23.6), (16.75,23.41,17.15,23.81), (17.48,23.47,17.94,23.75), (6.94,23.6,7.97,23.94), (17.48,23.75,17.76,25.92), (6.94,23.94,7.34,24), (8.45,23.97,8.85,24.37), (15.87,24.03,16.54,24.31), (16.2,24.31,16.54,24.53), (7.76,24.53,8.16,24.93), (10.8,24.53,11.2,24.93), (16.2,24.53,16.6,24.93), (7.82,24.93,8.1,28.92), (10.86,24.93,11.14,28.92), (18.32,25.09,18.62,25.1), (3.22,25.1,3.62,25.16), (15.14,25.1,15.84,25.44), (18.1,25.1,18.62,25.5), (3.22,25.16,7.35,25.44), (3.22,25.44,3.62,25.5), (7.01,25.44,7.35,25.86), (15.44,25.44,15.84,25.5), (18.32,25.5,18.62,27.17), (7.01,25.86,7.41,26.26), (11.42,25.86,11.82,25.92), (16.75,25.86,17.15,25.92), (24.65,25.86,25.05,26.26), (11.42,25.92,17.15,26.2), (17.48,25.92,17.94,26.2), (11.42,26.2,11.82,26.26), (16.75,26.2,17.15,26.26), (17.66,26.2,17.94,27.6), (24.7,26.26,25,32.49), (16.75,27.54,17.15,27.94), (21.85,27.54,22.25,27.94), (17.66,27.6,18.61,27.88), (18.33,27.88,18.61,28.92), (16.75,27.94,17.08,28.16), (21.9,27.94,22.2,32.49), (9.92,28.1,10.32,28.5), (15.47,28.16,17.08,28.44), (15.47,28.44,15.81,28.92), (7.76,28.92,8.16,29.32), (9.28,28.92,9.68,28.98), (10.8,28.92,11.2,28.98), (15.41,28.92,15.81,29.32), (18.1,28.92,18.61,29.26), (9.28,28.98,11.9,29.22), (9.28,29.22,12.25,29.26), (23.95,29.22,24.35,29.62), (9.28,29.26,9.68,29.32), (10.56,29.26,12.25,29.56), (18.1,29.26,18.5,29.32), (11.56,29.56,12.25,29.62), (11.56,29.62,11.96,30.18), (24,29.62,24.3,32.49), (0.92,30.9,1.32,30.96), (3.96,30.9,4.36,30.96), (6.94,30.9,7.34,30.96), (10.04,30.9,10.44,30.96), (13.08,30.9,13.48,30.96), (0.92,30.96,13.48,31.24), (0.92,31.24,1.32,31.3), (3.96,31.24,4.36,31.3), (6.94,31.24,7.34,31.3), (10.04,31.24,10.44,31.3), (13.08,31.24,13.48,31.3)])
A(cxslot_ah_50, metal2_pin, 20.5, 31.89, 0.3, 0.4, 10, 1, 0.7, 0)
R(cxslot_ah_50, metal2_pin, [(1.6,21.17,2,21.57), (2.3,21.73,2.7,22.13), (4.8,22.29,5.2,22.69), (8.35,22.85,8.75,23.25), (16.75,23.41,17.15,23.81), (8.45,23.97,8.85,24.37), (16.2,24.53,16.6,24.93), (18.32,26.67,18.62,26.97), (18.9,31.89,19.2,32.29), (19.55,31.89,20.15,32.29)])
A(cxslot_ah_50, via2, 4.21, 0.9, 0.26, 0.26, 4, 2, 0.6, 3.23)
R(cxslot_ah_50, via2, [(0.99,0.9,1.25,1.16), (1.79,0.9,2.05,1.16), (3.25,0.9,3.51,1.16), (6.9,0.9,7.16,1.16), (14.71,0.97,14.97,1.23), (18.17,1.04,18.43,1.3), (13.42,1.74,13.68,2), (2.51,2.24,2.77,2.5), (7.71,3.53,7.97,3.79), (9.11,3.53,9.37,3.79), (9.77,4.13,10.03,4.39), (26.12,4.78,26.38,5.04), (14.35,6.89,14.61,7.15), (17.67,6.89,17.93,7.15), (0.99,8.57,1.25,8.83), (18.17,8.57,18.43,8.83), (4.87,9.13,5.13,9.39), (7.35,9.13,7.61,9.39), (13.15,9.13,13.41,9.39), (17.49,9.455,17.75,9.715), (23.32,9.455,23.58,9.715), (1.67,10.065,1.93,10.325), (2.98,10.065,3.24,10.325), (8.05,10.065,8.31,10.325), (15.88,10.065,16.14,10.325), (7.01,11.015,7.27,11.275), (14.38,11.015,14.64,11.275), (13.55,11.37,13.81,11.63), (15.68,11.37,15.94,11.63), (18.17,11.37,18.43,11.63), (2.98,12.49,3.24,12.75), (7.71,13.255,7.97,13.515), (9.07,13.255,9.33,13.515), (15.85,13.255,16.11,13.515), (1.38,14.205,1.64,14.465), (8.16,15.205,8.42,15.465), (18.77,15.205,19.03,15.465), (10.79,16.41,11.05,16.67), (17.94,16.41,18.2,16.67), (15.51,17.53,15.77,17.79), (26.82,17.53,27.08,17.79), (7.08,18.09,7.34,18.35), (9.81,18.09,10.07,18.35), (12.32,19.03,12.58,19.29), (20.52,19.03,20.78,19.29), (3.25,20.03,3.51,20.29), (5.9,20.03,6.16,20.29), (9.77,20.03,10.03,20.29), (12.85,20.03,13.11,20.29)])
A(cxslot_ah_50, metal3, 4.04, 1.23, 0.28, 2.53, 3, 1, 1.12, 0)
R(cxslot_ah_50, metal3, [(0.92,0.83,1.32,1.23), (1.72,0.83,2.12,0.89), (3.18,0.83,3.58,0.89), (4.04,0.83,7.23,0.89), (1.72,0.89,3.58,1.17), (4.04,0.89,9.18,1.17), (14.64,0.9,15.04,1.03), (18.1,0.97,18.5,1.03), (14.64,1.03,18.5,1.3), (1.72,1.17,2.12,1.23), (3.18,1.17,3.58,1.23), (4.04,1.17,7.23,1.23), (8.9,1.17,9.18,1.59), (0.98,1.23,1.26,8.5), (14.7,1.3,18.5,1.31), (18.1,1.31,18.5,1.37), (4.6,1.53,4.88,4.06), (5.72,1.53,6,4.06), (6.84,1.53,7.12,3.46), (8.9,1.59,10.26,1.73), (13.35,1.67,13.75,1.73), (8.9,1.73,13.75,1.87), (9.98,1.87,13.75,2.01), (13.35,2.01,13.75,2.07), (2.44,2.17,2.84,2.57), (2.5,2.57,2.78,9.12), (6.84,3.46,8.04,3.52), (9.04,3.46,9.44,3.52), (6.84,3.52,9.44,3.8), (6.84,3.8,8.04,3.86), (9.04,3.8,9.44,3.86), (6.84,3.86,7.12,4.06), (4.04,4.06,7.12,4.46), (9.7,4.06,10.1,4.46), (9.76,4.46,10.1,4.77), (26.05,4.71,26.45,4.77), (9.76,4.77,26.45,5.05), (26.05,5.05,26.45,5.11), (14.28,6.82,14.68,6.88), (17.6,6.82,18,6.88), (14.28,6.88,18,7.16), (14.28,7.16,14.68,7.22), (17.6,7.16,18,7.22), (0.92,8.5,1.32,8.9), (18.1,8.5,18.5,8.56), (15.4,8.56,18.5,8.84), (15.4,8.84,15.68,9.445), (18.1,8.84,18.5,8.9), (4.8,9.06,5.2,9.12), (7.28,9.06,7.68,9.12), (13.08,9.06,13.48,9.12), (2.5,9.12,3.25,9.4), (4.8,9.12,7.68,9.4), (13.08,9.12,13.69,9.445), (17.42,9.385,17.82,9.445), (23.25,9.385,23.65,9.445), (2.97,9.4,3.25,9.995), (4.8,9.4,5.2,9.46), (7.28,9.4,7.68,9.46), (13.08,9.445,15.68,9.46), (17.42,9.445,23.65,9.725), (13.41,9.46,15.68,9.725), (13.54,9.725,13.82,11.3), (17.42,9.725,17.82,9.785), (23.25,9.725,23.65,9.785), (1.6,9.995,2,10.055), (2.91,9.995,3.31,10.395), (7.98,9.995,8.38,10.055), (15.81,9.995,16.21,10.055), (1.38,10.055,2,10.395), (7.69,10.055,8.38,10.395), (14.97,10.055,16.21,10.395), (1.38,10.395,1.66,13.555), (7.69,10.395,7.97,10.945), (14.97,10.395,15.25,10.945), (6.94,10.945,7.97,11.285), (14.31,10.945,15.25,11.285), (6.94,11.285,7.34,11.345), (14.31,11.285,14.71,11.345), (13.48,11.3,13.88,11.7), (15.61,11.3,16.01,11.36), (18.1,11.3,18.5,11.36), (15.61,11.36,18.5,11.64), (15.61,11.64,16.01,11.7), (18.1,11.64,18.5,11.7), (2.91,12.42,3.31,12.48), (2.91,12.48,7.97,12.76), (2.91,12.76,3.31,12.82), (7.64,12.76,7.97,13.185), (7.64,13.185,8.04,13.585), (9,13.185,9.4,13.245), (15.78,13.185,16.18,13.245), (9,13.245,16.18,13.525), (9,13.525,9.4,13.585), (15.78,13.525,16.18,13.585), (1.37,13.555,1.66,14.135), (1.31,14.135,1.71,14.535), (8.09,15.135,8.49,15.195), (18.7,15.135,19.1,15.195), (8.09,15.195,19.1,15.475), (8.09,15.475,8.49,15.535), (18.7,15.475,19.1,15.535), (10.72,16.34,11.12,16.4), (17.87,16.34,18.27,16.4), (10.72,16.4,18.27,16.68), (10.72,16.68,11.12,16.74), (17.87,16.68,18.27,16.74), (15.44,17.46,15.84,17.52), (26.75,17.46,27.15,17.52), (15.44,17.52,27.15,17.8), (15.44,17.8,15.84,17.86), (26.75,17.8,27.15,17.86), (7.01,18.02,7.41,18.08), (9.74,18.02,10.14,18.08), (7.01,18.08,10.14,18.36), (7.01,18.36,7.41,18.42), (9.74,18.36,10.14,18.42), (12.25,18.96,12.65,19.02), (20.45,18.96,20.85,19.02), (12.25,19.02,20.85,19.3), (12.25,19.3,12.65,19.36), (20.45,19.3,20.85,19.36), (3.18,19.96,3.58,20.02), (5.83,19.96,6.23,20.02), (9.7,19.96,10.1,20.02), (12.78,19.96,13.18,20.02), (3.18,20.02,6.23,20.3), (9.7,20.02,13.18,20.3), (3.18,20.3,3.58,20.36), (5.83,20.3,6.23,20.36), (9.7,20.3,10.1,20.36), (12.78,20.3,13.18,20.36)])
cxslot_ah_50.add(gdstk.Label('vss', (2.5,0.3), layer=34, texttype=10))
cxslot_ah_50.add(gdstk.Label('vbp_syn', (19.05,32.09), layer=36, texttype=10))
cxslot_ah_50.add(gdstk.Label('vdd', (19.85,32.09), layer=36, texttype=10))
cxslot_ah_50.add(gdstk.Label('el', (20.65,32.09), layer=36, texttype=10))
cxslot_ah_50.add(gdstk.Label('aux', (21.35,32.09), layer=36, texttype=10))
cxslot_ah_50.add(gdstk.Label('vbn_leak', (22.05,32.09), layer=36, texttype=10))
cxslot_ah_50.add(gdstk.Label('vsrc', (22.75,32.09), layer=36, texttype=10))
cxslot_ah_50.add(gdstk.Label('vbp_st', (23.45,32.09), layer=36, texttype=10))
cxslot_ah_50.add(gdstk.Label('vbn_prb', (24.15,32.09), layer=36, texttype=10))
cxslot_ah_50.add(gdstk.Label('vbn_ref', (24.85,32.09), layer=36, texttype=10))
cxslot_ah_50.add(gdstk.Label('en', (25.55,32.09), layer=36, texttype=10))
cxslot_ah_50.add(gdstk.Label('vreset', (26.25,32.09), layer=36, texttype=10))
cxslot_ah_50.add(gdstk.Label('abus', (26.95,32.09), layer=36, texttype=10))
cxslot_ah_50.add(gdstk.Label('sta', (1.8,21.37), layer=36, texttype=10))
cxslot_ah_50.add(gdstk.Label('stb', (2.5,21.93), layer=36, texttype=10))
cxslot_ah_50.add(gdstk.Label('hold', (5,22.49), layer=36, texttype=10))
cxslot_ah_50.add(gdstk.Label('mreset', (8.55,23.05), layer=36, texttype=10))
cxslot_ah_50.add(gdstk.Label('rsel', (16.95,23.61), layer=36, texttype=10))
cxslot_ah_50.add(gdstk.Label('sub', (8.65,24.17), layer=36, texttype=10))
cxslot_ah_50.add(gdstk.Label('sub_b', (16.4,24.73), layer=36, texttype=10))
cxslot_ah_50.add(gdstk.Label('spk', (18.47,26.82), layer=36, texttype=10))
cxslot_ah_50.add(gdstk.Label('vm', (5.45,4.91), layer=34, texttype=10))

lib.write_gds('cxslot_ah_50.gds')
